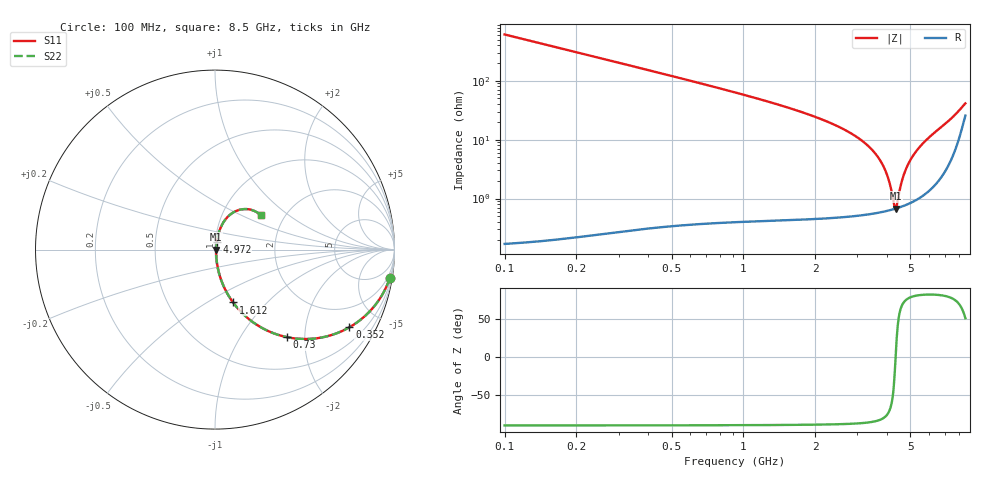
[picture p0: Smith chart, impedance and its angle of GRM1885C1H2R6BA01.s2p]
!Murata Part Number: GRM1885C1H2R6BA01
!These Parameters are Measured in Series Mode Connection
!Data Generated on Mar 30, 2021
!  o--ll--o
!Port1  Port2
!  o------o
!Operation Temp=25[degC], DC Bias Voltage=0[V]
!Freq. Start=100[MHz] Stop=9[GHz] 401[Steps]
# Hz S RI R 50
!Freq.(Hz) S11(Real) S11(Imag) S21(Real) S21(Imag) S12(Real) S12(Imag) S22(Real) S22(Imag)
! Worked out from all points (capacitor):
!   401 points, 100 MHz to 8.5 GHz, reference 50 ohm
!   read as one part in series: C = 2.6 pF near 142 MHz
!   lowest |Z| = 676 mohm at 4.342 GHz (marker M1)
!   series resonance near 4.337 GHz, so ESL is about 520 pH
!   S11 on the Smith chart (normalised r, x): 100 MHz: 1, -12; 352 MHz: 1.01, -3.45; 730 MHz: 1.01, -1.63; 1.612 GHz: 1.01, -0.66; 4.972 GHz: 1.02, +0.08; 8.5 GHz: 1.51, +0.65
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1e8  0.9739 -0.1592  0.0261 0.1592  0.0261 0.1592  0.9739 -0.1592
2.26e8  0.8792 -0.3255  0.1208 0.3255  0.1208 0.3255  0.8792 -0.3255
3.52e8  0.7485 -0.433  0.2515 0.433  0.2515 0.433  0.7485 -0.433
5.2e8  0.5734 -0.4931  0.4266 0.4931  0.4266 0.4931  0.5734 -0.4931
7.3e8  0.3996 -0.4875  0.6004 0.4875  0.6004 0.4875  0.3996 -0.4875
1.066e9  0.2278 -0.4157  0.7722 0.4157  0.7722 0.4157  0.2278 -0.4157
1.507e9  0.117 -0.3156  0.883 0.3156  0.883 0.3156  0.117 -0.3156
1.612e9  0.1009 -0.2947  0.8991 0.2947  0.8991 0.2947  0.1009 -0.2947
2.914e9  0.0185 -0.1152  0.9815 0.1152  0.9815 0.1152  0.0185 -0.1152
3.439e9  0.01 -0.0674  0.99 0.0674  0.99 0.0674  0.01 -0.0674
3.817e9  0.00728 -0.0373  0.9927 0.0373  0.9927 0.0373  0.00728 -0.0373
4.069e9  0.00659 -0.0187  0.9934 0.0187  0.9934 0.0187  0.00659 -0.0187
4.3e9  0.00663 -0.00251  0.9934 0.00251  0.9934 0.00251  0.00663 -0.00251
4.342e9  0.0067 0.000373  0.9933 -0.000373  0.9933 -0.000373  0.0067 0.000373
4.384e9  0.00679 0.00323  0.9932 -0.00323  0.9932 -0.00323  0.00679 0.00323
4.636e9  0.00773 0.02  0.9923 -0.02  0.9923 -0.02  0.00773 0.02
4.972e9  0.00997 0.0416  0.99 -0.0416  0.99 -0.0416  0.00997 0.0416
5.287e9  0.0131 0.0613  0.9869 -0.0613  0.9869 -0.0613  0.0131 0.0613
5.707e9  0.0191 0.0871  0.9809 -0.0871  0.9809 -0.0871  0.0191 0.0871
7.114e9  0.0648 0.1762  0.9352 -0.1762  0.9352 -0.1762  0.0648 0.1762
8.017e9  0.1582 0.2254  0.8418 -0.2254  0.8418 -0.2254  0.1582 0.2254
8.5e9  0.2536 0.1925  0.7464 -0.1925  0.7464 -0.1925  0.2536 0.1925
